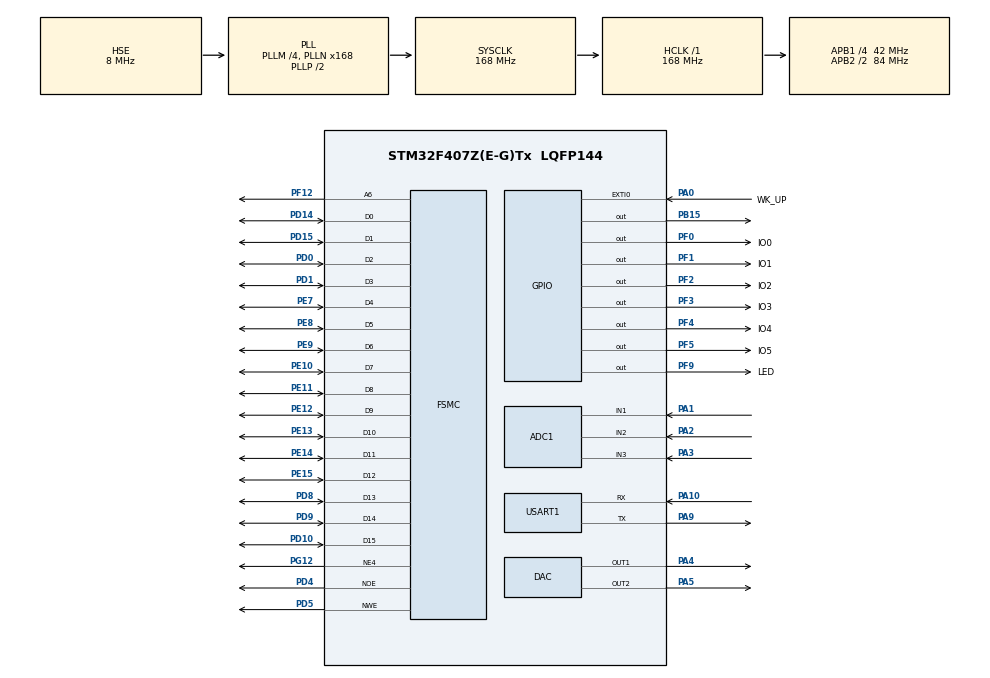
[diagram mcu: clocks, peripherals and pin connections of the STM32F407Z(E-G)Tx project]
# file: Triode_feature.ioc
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ADC1.Channel-13\#ChannelRegularConversion=ADC_CHANNEL_1
ADC1.Channel-14\#ChannelRegularConversion=ADC_CHANNEL_2
ADC1.Channel-15\#ChannelRegularConversion=ADC_CHANNEL_3
ADC1.ClockPrescaler=ADC_CLOCK_SYNC_PCLK_DIV8
ADC1.DiscontinuousConvMode=ENABLE
ADC1.NbrOfConversion=3
ADC1.NbrOfConversionFlag=1
ADC1.Rank-13\#ChannelRegularConversion=1
ADC1.Rank-14\#ChannelRegularConversion=2
ADC1.Rank-15\#ChannelRegularConversion=3
ADC1.SamplingTime-13\#ChannelRegularConversion=ADC_SAMPLETIME_56CYCLES
ADC1.SamplingTime-14\#ChannelRegularConversion=ADC_SAMPLETIME_56CYCLES
ADC1.SamplingTime-15\#ChannelRegularConversion=ADC_SAMPLETIME_56CYCLES
ADC1.master=1
FSMC.BusTurnAroundDuration1=0
FSMC.DataSetupTime1=60
FSMC.ExtendedAddressSetupTime1=9
FSMC.ExtendedBusTurnAroundDuration1=0
FSMC.ExtendedDataSetupTime1=8
FSMC.ExtendedMode1=FSMC_EXTENDED_MODE_ENABLE
Mcu.Family=STM32F4
Mcu.Name=STM32F407Z(E-G)Tx
Mcu.Package=LQFP144
NVIC.EXTI0_IRQn=true\:1\:0\:true\:false\:true\:true\:true\:true
NVIC.PriorityGroup=NVIC_PRIORITYGROUP_4
NVIC.TIM3_IRQn=true\:1\:0\:true\:false\:true\:true\:true\:true
PA0-WKUP.GPIO_Label=WK_UP
PA0-WKUP.GPIO_ModeDefaultEXTI=GPIO_MODE_IT_RISING
PA0-WKUP.GPIO_PuPd=GPIO_PULLDOWN
PA0-WKUP.Signal=GPXTI0
PA1.Signal=ADCx_IN1
PA10.Mode=Asynchronous
PA10.Signal=USART1_RX
PA2.Signal=ADCx_IN2
PA3.Signal=ADCx_IN3
PA4.Signal=SharedAnalog_PA4
PA5.Signal=COMP_DAC2_group
PA9.Mode=Asynchronous
PA9.Signal=USART1_TX
PB15.Signal=GPIO_Output
PD0.Signal=FSMC_D2_DA2
PD1.Signal=FSMC_D3_DA3
PD10.Signal=FSMC_D15_DA15
PD14.Signal=FSMC_D0_DA0
PD15.Signal=FSMC_D1_DA1
PD4.Signal=FSMC_NOE
PD5.Signal=FSMC_NWE
PD8.Signal=FSMC_D13_DA13
PD9.Signal=FSMC_D14_DA14
PE10.Signal=FSMC_D7_DA7
PE11.Signal=FSMC_D8_DA8
PE12.Signal=FSMC_D9_DA9
PE13.Signal=FSMC_D10_DA10
PE14.Signal=FSMC_D11_DA11
PE15.Signal=FSMC_D12_DA12
PE7.Signal=FSMC_D4_DA4
PE8.Signal=FSMC_D5_DA5
PE9.Signal=FSMC_D6_DA6
PF0.GPIO_Label=IO0
PF0.GPIO_ModeDefaultOutputPP=GPIO_MODE_OUTPUT_OD
PF0.GPIO_PuPd=GPIO_PULLUP
PF0.PinState=GPIO_PIN_SET
PF0.Signal=GPIO_Output
PF1.GPIO_Label=IO1
PF1.GPIO_ModeDefaultOutputPP=GPIO_MODE_OUTPUT_OD
PF1.GPIO_PuPd=GPIO_PULLUP
PF1.PinState=GPIO_PIN_SET
PF1.Signal=GPIO_Output
PF12.Signal=FSMC_A6
PF2.GPIO_Label=IO2
PF2.GPIO_ModeDefaultOutputPP=GPIO_MODE_OUTPUT_OD
PF2.GPIO_PuPd=GPIO_PULLUP
PF2.PinState=GPIO_PIN_SET
PF2.Signal=GPIO_Output
PF3.GPIO_Label=IO3
PF3.GPIO_ModeDefaultOutputPP=GPIO_MODE_OUTPUT_OD
PF3.GPIO_PuPd=GPIO_PULLUP
PF3.PinState=GPIO_PIN_SET
PF3.Signal=GPIO_Output
PF4.GPIO_Label=IO4
PF4.GPIO_ModeDefaultOutputPP=GPIO_MODE_OUTPUT_OD
PF4.GPIO_PuPd=GPIO_PULLUP
PF4.PinState=GPIO_PIN_SET
PF4.Signal=GPIO_Output
PF5.GPIO_Label=IO5
PF5.GPIO_ModeDefaultOutputPP=GPIO_MODE_OUTPUT_OD
PF5.GPIO_PuPd=GPIO_PULLUP
PF5.PinState=GPIO_PIN_SET
PF5.Signal=GPIO_Output
PF9.GPIO_Label=LED
PF9.GPIO_ModeDefaultOutputPP=GPIO_MODE_OUTPUT_OD
PF9.GPIO_PuPd=GPIO_PULLUP
PF9.PinState=GPIO_PIN_SET
PF9.Signal=GPIO_Output
PG12.Mode=NorPsramChipSelect4_1
PG12.Signal=FSMC_NE4
PH0-OSC_IN.Mode=HSE-External-Oscillator
PH0-OSC_IN.Signal=RCC_OSC_IN
PH1-OSC_OUT.Mode=HSE-External-Oscillator
PH1-OSC_OUT.Signal=RCC_OSC_OUT
ProjectManager.HeapSize=0x200
ProjectManager.StackSize=0x400
ProjectManager.TargetToolchain=MDK-ARM V5.32
RCC.48MHZClocksFreq_Value=84000000
RCC.AHBFreq_Value=168000000
RCC.APB1CLKDivider=RCC_HCLK_DIV4
RCC.APB1Freq_Value=42000000
RCC.APB1TimFreq_Value=84000000
RCC.APB2CLKDivider=RCC_HCLK_DIV2
RCC.APB2Freq_Value=84000000
RCC.APB2TimFreq_Value=168000000
RCC.CortexFreq_Value=168000000
RCC.HCLKFreq_Value=168000000
RCC.HSE_VALUE=8000000
RCC.HSI_VALUE=16000000
RCC.LSE_VALUE=32768
RCC.PLLM=4
RCC.PLLN=168
RCC.PLLSourceVirtual=RCC_PLLSOURCE_HSE
RCC.SYSCLKFreq_VALUE=168000000
RCC.SYSCLKSource=RCC_SYSCLKSOURCE_PLLCLK
RCC.VCOOutputFreq_Value=336000000
SH.ADCx_IN1.0=ADC1_IN1,IN1
SH.ADCx_IN2.0=ADC1_IN2,IN2
SH.ADCx_IN3.0=ADC1_IN3,IN3
SH.COMP_DAC2_group.0=DAC_OUT2,DAC_OUT2
SH.FSMC_A6.0=FSMC_A6,A6_1
SH.FSMC_D0_DA0.0=FSMC_D0,16b-d1
SH.FSMC_D10_DA10.0=FSMC_D10,16b-d1
SH.FSMC_D11_DA11.0=FSMC_D11,16b-d1
SH.FSMC_D12_DA12.0=FSMC_D12,16b-d1
SH.FSMC_D13_DA13.0=FSMC_D13,16b-d1
SH.FSMC_D14_DA14.0=FSMC_D14,16b-d1
SH.FSMC_D15_DA15.0=FSMC_D15,16b-d1
SH.FSMC_D1_DA1.0=FSMC_D1,16b-d1
SH.FSMC_D2_DA2.0=FSMC_D2,16b-d1
SH.FSMC_D3_DA3.0=FSMC_D3,16b-d1
SH.FSMC_D4_DA4.0=FSMC_D4,16b-d1
SH.FSMC_D5_DA5.0=FSMC_D5,16b-d1
SH.FSMC_D6_DA6.0=FSMC_D6,16b-d1
SH.FSMC_D7_DA7.0=FSMC_D7,16b-d1
SH.FSMC_D8_DA8.0=FSMC_D8,16b-d1
SH.FSMC_D9_DA9.0=FSMC_D9,16b-d1
SH.FSMC_NOE.0=FSMC_NOE,Lcd1
SH.FSMC_NWE.0=FSMC_NWE,Lcd1
SH.SharedAnalog_PA4.0=ADC1_IN4
SH.SharedAnalog_PA4.1=DAC_OUT1,DAC_OUT1
TIM3.AutoReloadPreload=TIM_AUTORELOAD_PRELOAD_ENABLE
TIM3.Period=10000-1
TIM3.Prescaler=84-1
USART1.VirtualMode=VM_ASYNC
VP_TIM3_VS_ClockSourceINT.Mode=Internal
board=custom

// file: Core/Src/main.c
/* USER CODE BEGIN Header */
/**
  ******************************************************************************
  * @file           : main.c
  * @brief          : Main program body
  ******************************************************************************
  * @attention
  *
  * Copyright (c) 2023 STMicroelectronics.
  * All rights reserved.
  *
  * This software is licensed under terms that can be found in the LICENSE file
  * in the root directory of this software component.
  * If no LICENSE file comes with this software, it is provided AS-IS.
  *
  ******************************************************************************
  */
/* USER CODE END Header */
#include "main.h"
#include "adc.h"
#include "dac.h"
#include "tim.h"
#include "usart.h"
#include "gpio.h"
#include "fsmc.h"

/* USER CODE BEGIN Includes */
#include "sys.h"//???????
#include "delay.h"
#include "lcd.h"//??
#include "touch.h"//??
#include "triode_judge.h"
#include "stdio.h"
/* USER CODE END Includes */

/* USER CODE BEGIN PTD */
/*
		IO1		---->		PE2		PEout(2)
		IO2		---->		PE4		PEout(4)
		IO3		---->		PE6		PEout(6)
		IO4		---->		PF0		PFout(0)
		IO5		---->		PF2		PFout(2)
		IO6		---->		PF4		PFout(4)
*/
/* USER CODE END PTD */

/* USER CODE BEGIN PD */
#define width	480
#define high	800
/* USER CODE END PD */

/* USER CODE BEGIN PV */
uint8_t key_flag = 0;
/* USER CODE END PV */

void SystemClock_Config(void);

/* USER CODE BEGIN 0 */
void HAL_GPIO_EXTI_Callback(uint16_t GPIO_Pin)
{
	if(GPIO_Pin == WK_UP_Pin)
	{
		HAL_Delay(100);
		if(HAL_GPIO_ReadPin(WK_UP_GPIO_Port,WK_UP_Pin)==1)
		{
			HAL_GPIO_TogglePin(LED_GPIO_Port,LED_Pin);
			key_flag =1;
		}
	}
}
/* USER CODE END 0 */

int main(void)
{

  /* MCU Configuration--------------------------------------------------------*/

  /* Reset of all peripherals, Initializes the Flash interface and the Systick. */
  HAL_Init();

  /* Configure the system clock */
  SystemClock_Config();

  /* Initialize all configured peripherals */
  MX_GPIO_Init();
  MX_ADC1_Init();
  MX_DAC_Init();
  MX_TIM3_Init();
  MX_FSMC_Init();
  MX_USART1_UART_Init();
  /* USER CODE BEGIN 2 */
	lcd_init();
	lcd_clear(WHITE);
	HAL_Delay(500);

  /* USER CODE END 2 */

  /* Infinite loop */
  /* USER CODE BEGIN WHILE */
	uint8_t judge = 0;
  while (1)
  {
		if(key_flag == 1)
		{
			judge = TroBase_judge();
			key_flag =2;
		}
		else if(judge && key_flag == 2)
		{
			char temp[5];
			sprintf (temp ,"%d",judge);
			lcd_show_string (10+width*2/5,high*3/10,280,32,32,temp,RED);
			if(judge==1)
			{
				char* temp1[5] = {"NPN"};
				lcd_show_string (10,high*4/10,280,32,32,*temp1,RED);
				TroCE_judge(judge);
			}
			else if(judge==2)
			{
				char* temp2[5] = {"PNP"};
				lcd_show_string (10,high*4/10,280,32,32,*temp2,RED);
				TroCE_judge(judge);
			}
			else
			{
				char* temp3[5] = {"Error"};
				lcd_show_string (10,high*4/10,280,32,32,*temp3,RED);
			}
		}
		else
		{
			key_flag = 0;
		}
    /* USER CODE END WHILE */

  }
}

void SystemClock_Config(void)
{
  RCC_OscInitTypeDef RCC_OscInitStruct = {0};
  RCC_ClkInitTypeDef RCC_ClkInitStruct = {0};

  /** Configure the main internal regulator output voltage
  */
  __HAL_RCC_PWR_CLK_ENABLE();
  __HAL_PWR_VOLTAGESCALING_CONFIG(PWR_REGULATOR_VOLTAGE_SCALE1);

  /** Initializes the RCC Oscillators according to the specified parameters
  * in the RCC_OscInitTypeDef structure.
  */
  RCC_OscInitStruct.OscillatorType = RCC_OSCILLATORTYPE_HSE;
  RCC_OscInitStruct.HSEState = RCC_HSE_ON;
  RCC_OscInitStruct.PLL.PLLState = RCC_PLL_ON;
  RCC_OscInitStruct.PLL.PLLSource = RCC_PLLSOURCE_HSE;
  RCC_OscInitStruct.PLL.PLLM = 4;
  RCC_OscInitStruct.PLL.PLLN = 168;
  RCC_OscInitStruct.PLL.PLLP = RCC_PLLP_DIV2;
  RCC_OscInitStruct.PLL.PLLQ = 4;
  if (HAL_RCC_OscConfig(&RCC_OscInitStruct) != HAL_OK)
  {
    Error_Handler();
  }

  /** Initializes the CPU, AHB and APB buses clocks
  */
  RCC_ClkInitStruct.ClockType = RCC_CLOCKTYPE_HCLK|RCC_CLOCKTYPE_SYSCLK
                              |RCC_CLOCKTYPE_PCLK1|RCC_CLOCKTYPE_PCLK2;
  RCC_ClkInitStruct.SYSCLKSource = RCC_SYSCLKSOURCE_PLLCLK;
  RCC_ClkInitStruct.AHBCLKDivider = RCC_SYSCLK_DIV1;
  RCC_ClkInitStruct.APB1CLKDivider = RCC_HCLK_DIV4;
  RCC_ClkInitStruct.APB2CLKDivider = RCC_HCLK_DIV2;

  if (HAL_RCC_ClockConfig(&RCC_ClkInitStruct, FLASH_LATENCY_5) != HAL_OK)
  {
    Error_Handler();
  }
}

/* USER CODE BEGIN 4 */
int fputc(int ch, FILE *f)
{
	while((USART1->SR&0X40)==0);
	USART1->DR = (uint8_t) ch;
	return ch;
}
/* USER CODE END 4 */

void Error_Handler(void)
{
  __disable_irq();
  while (1)
  {
  }
}
